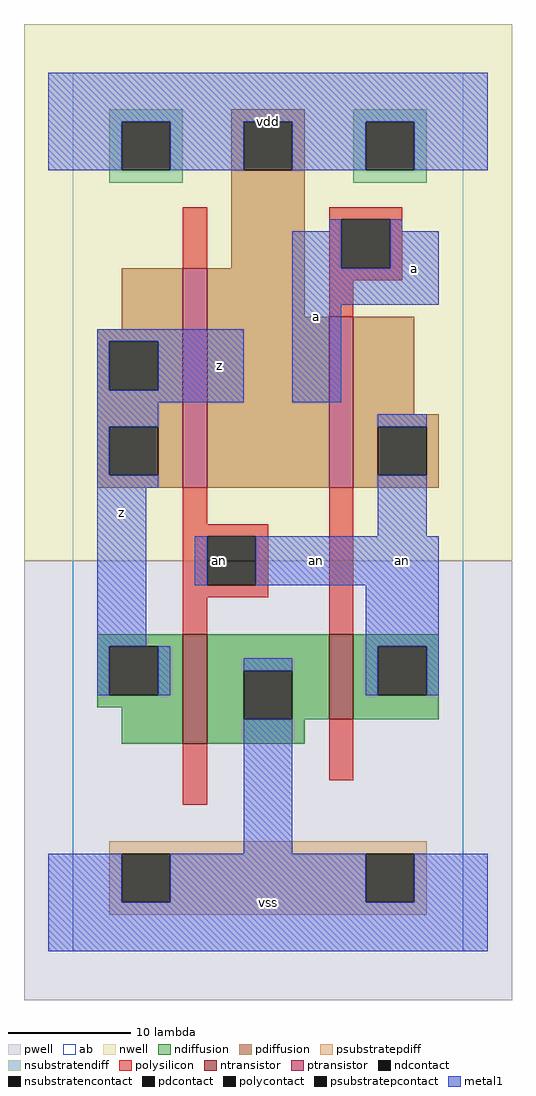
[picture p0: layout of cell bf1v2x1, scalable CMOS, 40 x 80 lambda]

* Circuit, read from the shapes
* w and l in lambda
.subckt bf1v2x1 a an vdd vss z
M1 vss an z vss nfet w=9 l=2
M2 an a vss vss nfet w=7 l=2
M3 vdd an z vdd pfet w=18 l=2
M4 an a vdd vdd pfet w=14 l=2
.ends

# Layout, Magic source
magic
tech scmos
<< ab >>
rect 0 0 32 72
<< pwell >>
rect -4 -4 36 32
<< nwell >>
rect -4 32 36 76
<< polysilicon >>
rect 9 56 11 61
rect 21 60 27 61
rect 21 56 22 60
rect 26 56 27 60
rect 21 55 27 56
rect 21 52 23 55
rect 9 35 11 38
rect 9 34 16 35
rect 9 30 11 34
rect 15 30 16 34
rect 9 29 16 30
rect 9 26 11 29
rect 21 26 23 38
rect 9 12 11 17
rect 21 14 23 19
<< ndiffusion >>
rect 2 25 9 26
rect 2 21 3 25
rect 7 21 9 25
rect 2 20 9 21
rect 4 17 9 20
rect 11 23 21 26
rect 11 19 14 23
rect 18 19 21 23
rect 23 25 30 26
rect 23 21 25 25
rect 29 21 30 25
rect 23 19 30 21
rect 11 17 19 19
<< pdiffusion >>
rect 13 68 19 69
rect 13 64 14 68
rect 18 64 19 68
rect 13 56 19 64
rect 4 51 9 56
rect 2 50 9 51
rect 2 46 3 50
rect 7 46 9 50
rect 2 43 9 46
rect 2 39 3 43
rect 7 39 9 43
rect 2 38 9 39
rect 11 52 19 56
rect 11 38 21 52
rect 23 44 28 52
rect 23 43 30 44
rect 23 39 25 43
rect 29 39 30 43
rect 23 38 30 39
<< metal1 >>
rect -2 68 34 72
rect -2 64 4 68
rect 8 64 14 68
rect 18 64 24 68
rect 28 64 34 68
rect 21 59 22 60
rect 18 56 22 59
rect 26 59 27 60
rect 26 56 30 59
rect 18 53 30 56
rect 2 50 14 51
rect 2 46 3 50
rect 7 46 14 50
rect 2 45 14 46
rect 18 45 22 53
rect 2 43 7 45
rect 2 39 3 43
rect 2 38 7 39
rect 25 43 29 44
rect 2 25 6 38
rect 25 34 29 39
rect 10 30 11 34
rect 15 30 30 34
rect 24 25 30 30
rect 2 21 3 25
rect 7 21 8 25
rect 14 23 18 24
rect 24 21 25 25
rect 29 21 30 25
rect 14 8 18 19
rect -2 4 4 8
rect 8 4 24 8
rect 28 4 34 8
rect -2 0 34 4
<< ntransistor >>
rect 9 17 11 26
rect 21 19 23 26
<< ptransistor >>
rect 9 38 11 56
rect 21 38 23 52
<< polycontact >>
rect 22 56 26 60
rect 11 30 15 34
<< ndcontact >>
rect 3 21 7 25
rect 14 19 18 23
rect 25 21 29 25
<< pdcontact >>
rect 14 64 18 68
rect 3 46 7 50
rect 3 39 7 43
rect 25 39 29 43
<< psubstratepcontact >>
rect 4 4 8 8
rect 24 4 28 8
<< nsubstratencontact >>
rect 4 64 8 68
rect 24 64 28 68
<< psubstratepdiff >>
rect 3 8 29 9
rect 3 4 4 8
rect 8 4 24 8
rect 28 4 29 8
rect 3 3 29 4
<< nsubstratendiff >>
rect 3 68 9 69
rect 3 64 4 68
rect 8 64 9 68
rect 3 63 9 64
rect 23 68 29 69
rect 23 64 24 68
rect 28 64 29 68
rect 23 63 29 64
<< labels >>
rlabel polycontact 12 32 12 32 6 an
rlabel metal1 4 36 4 36 6 z
rlabel metal1 12 48 12 48 6 z
rlabel metal1 16 4 16 4 6 vss
rlabel metal1 20 52 20 52 6 a
rlabel metal1 16 68 16 68 6 vdd
rlabel metal1 20 32 20 32 6 an
rlabel metal1 27 32 27 32 6 an
rlabel metal1 28 56 28 56 6 a
<< end >>
